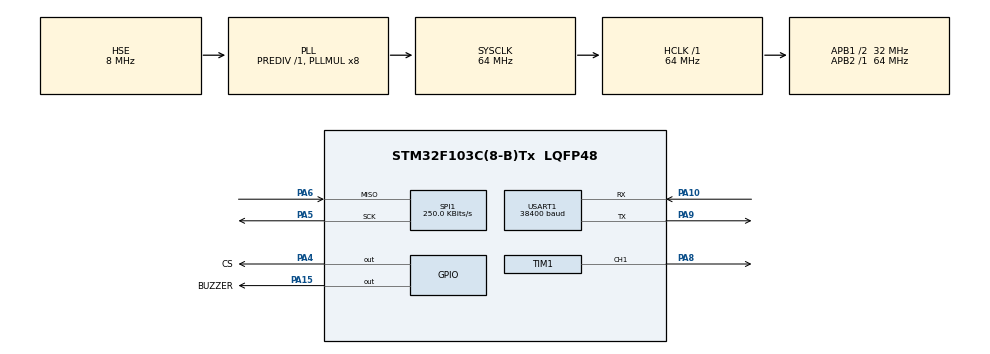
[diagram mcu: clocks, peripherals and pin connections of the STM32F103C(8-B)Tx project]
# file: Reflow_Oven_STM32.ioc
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Mcu.Family=STM32F1
RCC.PLLSourceVirtual=RCC_PLLSOURCE_HSE
PA6.Mode=RX_Only_Simplex_Unidirect_Master
TIM1.OCPolarity_1=TIM_OCPOLARITY_LOW
PD1-OSC_OUT.Mode=HSE-External-Oscillator
PA10.Mode=Asynchronous
SPI1.VirtualType=VM_MASTER
USART1.BaudRate=38400
SPI1.CLKPhase=SPI_PHASE_2EDGE
PD0-OSC_IN.Signal=RCC_OSC_IN
RCC.APB1CLKDivider=RCC_HCLK_DIV2
RCC.SYSCLKSource=RCC_SYSCLKSOURCE_PLLCLK
ProjectManager.StackSize=0x400
PD1-OSC_OUT.Signal=RCC_OSC_OUT
PA13.Signal=SYS_JTMS-SWDIO
PA15.GPIO_Label=BUZZER
PA9.Mode=Asynchronous
TIM1.Prescaler=32000
SH.S_TIM1_CH1.0=TIM1_CH1,PWM Generation1 CH1
ProjectManager.TargetToolchain=STM32CubeIDE
SPI1.Direction=SPI_DIRECTION_2LINES_RXONLY
RCC.HCLKFreq_Value=64000000
RCC.APB2TimFreq_Value=64000000
PA9.Signal=USART1_TX
SPI1.CalculateBaudRate=250.0 KBits/s
RCC.USBFreq_Value=64000000
TIM4.Prescaler=64000
RCC.AHBFreq_Value=64000000
PD0-OSC_IN.Mode=HSE-External-Oscillator
PA5.Signal=SPI1_SCK
board=custom
RCC.PLLMUL=RCC_PLL_MUL8
PA15.PinState=GPIO_PIN_RESET
RCC.APB2Freq_Value=64000000
TIM1.Channel-PWM\ Generation1\ CH1=TIM_CHANNEL_1
SPI1.Mode=SPI_MODE_MASTER
PA14.Mode=Serial_Wire
SPI1.DataSize=SPI_DATASIZE_16BIT
PA8.Signal=S_TIM1_CH1
TIM4.Period=500
PA13.Mode=Serial_Wire
Mcu.Name=STM32F103C(8-B)Tx
TIM1.OCMode_PWM-PWM\ Generation1\ CH1=TIM_OCMODE_PWM2
PA4.Signal=GPIO_Output
RCC.SYSCLKFreq_VALUE=64000000
Mcu.Package=LQFP48
PA6.Signal=SPI1_MISO
USART1.VirtualMode=VM_ASYNC
PA10.Signal=USART1_RX
PA14.Signal=SYS_JTCK-SWCLK
PA15.Signal=GPIO_Output
ProjectManager.HeapSize=0x200
VP_TIM4_VS_ClockSourceINT.Mode=Internal
NVIC.PriorityGroup=NVIC_PRIORITYGROUP_4
PA15.GPIO_PuPd=GPIO_PULLDOWN
RCC.APB1TimFreq_Value=64000000
TIM1.Period=1000
NVIC.USART1_IRQn=true\:0\:0\:false\:false\:true\:true\:true
NVIC.TIM4_IRQn=true\:1\:0\:true\:false\:true\:true\:true
RCC.APB1Freq_Value=32000000
SPI1.BaudRatePrescaler=SPI_BAUDRATEPRESCALER_256
PA4.GPIO_Label=CS
PA5.Mode=RX_Only_Simplex_Unidirect_Master

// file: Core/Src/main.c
/* USER CODE BEGIN Header */
/**
  ******************************************************************************
  * @file           : main.c
  * @brief          : Main program body
  ******************************************************************************
  * @attention
  *
  * <h2><center>&copy; Copyright (c) 2021 STMicroelectronics.
  * All rights reserved.</center></h2>
  *
  * This software component is licensed by ST under BSD 3-Clause license,
  * the "License"; You may not use this file except in compliance with the
  * License. You may obtain a copy of the License at:
  *                        opensource.org/licenses/BSD-3-Clause
  *
  ******************************************************************************
  */
/* USER CODE END Header */
#include "main.h"

/* USER CODE BEGIN Includes */
#define ARM_MATH_CM3
#include "arm_math.h"
#include "FLASH_PAGE.h"
#include "stdio.h"
#include <stdlib.h>
#include "string.h"
/* USER CODE END Includes */

SPI_HandleTypeDef hspi1;

TIM_HandleTypeDef htim1;
TIM_HandleTypeDef htim4;

UART_HandleTypeDef huart1;

void SystemClock_Config(void);
static void MX_GPIO_Init(void);
static void MX_SPI1_Init(void);
static void MX_TIM4_Init(void);
static void MX_TIM1_Init(void);
static void MX_USART1_UART_Init(void);

/* USER CODE BEGIN 0 */

#define config_version 130

typedef struct {

	float32_t KP;
	float32_t Ki;
	float32_t KD;

	float32_t firstHeatUpRate;
	uint32_t SoakTempeture;
	uint32_t SoakTime;
	float32_t secondHeatUpRate;
	uint32_t ReflowTempeture;
	uint32_t ReflowTime;

	float32_t firstHeatUpRate0;
	uint32_t SoakTempeture0;
	uint32_t SoakTime0;
	float32_t secondHeatUpRate0;
	uint32_t ReflowTempeture0;
	uint32_t ReflowTime0;

	float32_t firstHeatUpRate1;
	uint32_t SoakTempeture1;
	uint32_t SoakTime1;
	float32_t secondHeatUpRate1;
	uint32_t ReflowTempeture1;
	uint32_t ReflowTime1;

	float32_t firstHeatUpRate2;
	uint32_t SoakTempeture2;
	uint32_t SoakTime2;
	float32_t secondHeatUpRate2;
	uint32_t ReflowTempeture2;
	uint32_t ReflowTime2;

	float32_t firstHeatUpRate3;
	uint32_t SoakTempeture3;
	uint32_t SoakTime3;
	float32_t secondHeatUpRate3;
	uint32_t ReflowTempeture3;
	uint32_t ReflowTime3;

	uint32_t version;

}	config;

uint32_t TimerBUZZER;
uint32_t TimerGui;
uint8_t beep;
uint8_t data[2];
uint8_t ReflowCurve[4000];
float temp;
float lastTemp;
float duty;

arm_pid_instance_f32 PID;
config ReflowParameters;

uint8_t ReflowEnable = 0;
uint8_t BuzzerEnable = 0;
uint16_t ReflowIndex = 0;

float32_t debug = 0;
uint8_t Cmd_End[3] = {0xFF, 0xFF, 0xFF};
uint8_t UART_Recieved_Data[5]={'p','0','x','x','x'};
volatile uint8_t UART_Recieved_Flag = 0;

char input[20];
uint16_t PhaseIndex[5]={0};

char ConsoleMSG[25];

uint8_t TempDrawEnable = 0;
uint32_t TempDrawCounter = 0;

void SaveReflowParameters(){
	Flash_Write_Data(0x0801FC00, (uint32_t *)&ReflowParameters, 34);
}

void HAL_UART_RxCpltCallback(UART_HandleTypeDef *huart){
	HAL_UART_Receive_IT(&huart1, UART_Recieved_Data, 5);
	UART_Recieved_Flag =1;
}

void NEXTION_SendString (char *ID, char *string){
	char buf[50];
	int len = sprintf(buf, "%s.txt=\"%s\"", ID, string);
	HAL_UART_Transmit(&huart1, (uint8_t *)buf, len, 1000);
	HAL_UART_Transmit(&huart1, Cmd_End, 3, 100);

}

void NEXTION_SendFloat (char *ID, float32_t number){
	char buf[50];
	int len = sprintf(buf, "%s.txt=\"%.2f\"", ID, number);
	HAL_UART_Transmit(&huart1, (uint8_t *)buf, len, 1000);
	HAL_UART_Transmit(&huart1, Cmd_End, 3, 100);
}

void NEXTION_SendFloat_CurrentTemp (char *ID, float32_t number){
	char buf[50];
	int len = sprintf(buf, "%s.txt=\"%.1f\"", ID, number);
	HAL_UART_Transmit(&huart1, (uint8_t *)buf, len, 1000);
	HAL_UART_Transmit(&huart1, Cmd_End, 3, 100);
}

void NEXTION_SenduInt (char *ID, uint32_t number){
	char buf[50];
	int len = sprintf(buf, "%s.txt=\"%lu\"", ID, number);
	HAL_UART_Transmit(&huart1, (uint8_t *)buf, len, 1000);
	HAL_UART_Transmit(&huart1, Cmd_End, 3, 100);
}

void NEXTION_CMD (char *string){
	HAL_UART_Transmit(&huart1, (uint8_t *)string, strlen(string), 1000);
	HAL_UART_Transmit(&huart1, Cmd_End, 3, 100);
}

void UpdatePage(){
	NEXTION_SendFloat("t1",ReflowParameters.firstHeatUpRate);
	NEXTION_SenduInt("t2", ReflowParameters.SoakTempeture);
	NEXTION_SenduInt("t3", ReflowParameters.SoakTime);
	NEXTION_SendFloat("t4",ReflowParameters.secondHeatUpRate);
	NEXTION_SenduInt("t5", ReflowParameters.ReflowTempeture);
	NEXTION_SenduInt("t6", ReflowParameters.ReflowTime);
}

void NextionDrawDot(uint32_t x, uint32_t y){

	char buf[50];
	int len = sprintf(buf, "cirs %lu,%lu,2,1311", x, y);	//RGB888: 0.160.255 RGB565:1311
	HAL_UART_Transmit(&huart1, (uint8_t *)buf, len, 1000);
	HAL_UART_Transmit(&huart1, Cmd_End, 3, 100);
}

void NextionDrawTemp(uint32_t x, uint32_t y){

	char buf[50];
	int len = sprintf(buf, "cirs %lu,%lu,2,RED", x, y);
	HAL_UART_Transmit(&huart1, (uint8_t *)buf, len, 1000);
	HAL_UART_Transmit(&huart1, Cmd_End, 3, 100);
}

float32_t HandleKeyPad() {

	//clear Input
	for (int i = 0; i < 20; i++) {
		input[i] = 0;
	}

	uint8_t index = 0;

	NEXTION_SendString("t0", "");
	UART_Recieved_Flag = 0;

	while (strncmp((char*) UART_Recieved_Data, "enter", 5) != 0) {

		if(strncmp((char*) UART_Recieved_Data, "abbre", 5) == 0)
				return 9999;
		if(strncmp((char*) UART_Recieved_Data, "kback", 5) == 0)
				return 8888;

		if (UART_Recieved_Flag == 1) {
			input[index] = UART_Recieved_Data[4];
			UART_Recieved_Flag = 0;
			index++;
			NEXTION_SendString("t0", input);
		}
	}
	return atof(input);
}

void Update_Page_3() {
	uint8_t defaultUart[5] = {'p','3','x','x','x'};
	for(int i=0;i<5;i++){
		UART_Recieved_Data[i]=defaultUart[i];
	}

	NEXTION_SendFloat("t0", ReflowParameters.firstHeatUpRate);
	NEXTION_SenduInt("t1", ReflowParameters.SoakTime);
	NEXTION_SenduInt("t2", ReflowParameters.SoakTempeture);
	NEXTION_SendFloat("t3", ReflowParameters.secondHeatUpRate);
	NEXTION_SenduInt("t4", ReflowParameters.ReflowTime);
	NEXTION_SenduInt("t5", ReflowParameters.ReflowTempeture);

}

void Update_Page_0() {
	uint8_t defaultUart[5] = {'p','0','x','x','x'};
	for(int i=0;i<5;i++)	{
		UART_Recieved_Data[i]=defaultUart[i];
	}

	float32_t dx = 0.20833; //275px / 660s / 500 ms
	float32_t dy = 0.7143; //175px / 245 Grad
	uint32_t OffsetX = 35;
	uint32_t OffsetY = 240;

		//Reflow Aktuelle Temperatur anzeigen:
		if (ReflowEnable == 1)	{
			TempDrawEnable = 1;

		}

		if(TempDrawEnable == 1){
			NextionDrawTemp(OffsetX + (uint32_t)((float32_t)(TempDrawCounter)*dx), OffsetY - (uint32_t)((float32_t)(temp)*dy));

		if(ReflowCurve[TempDrawCounter] == 0 ){
			TempDrawEnable = 0;
		}

		}

	NEXTION_SendFloat_CurrentTemp("t0", temp);
	NEXTION_SendFloat("t1", ReflowParameters.firstHeatUpRate);
	NEXTION_SenduInt("t3", ReflowParameters.SoakTime);
	NEXTION_SenduInt("t2", ReflowParameters.SoakTempeture);
	NEXTION_SendFloat("t4", ReflowParameters.secondHeatUpRate);
	NEXTION_SenduInt("t6", ReflowParameters.ReflowTime);
	NEXTION_SenduInt("t5", ReflowParameters.ReflowTempeture);
	NEXTION_SendString("g1", ConsoleMSG);

}

void Update_Page_2() {
	uint8_t defaultUart[5] = {'p','2','x','x','x'};
	for(int i=0;i<5;i++){
		UART_Recieved_Data[i]=defaultUart[i];
	}

	NEXTION_SendFloat("t0", ReflowParameters.KP);
	NEXTION_SendFloat("t1", ReflowParameters.Ki);
	NEXTION_SendFloat("t2", ReflowParameters.KD);
	NEXTION_SendFloat("t3", (float32_t) ReflowParameters.version/100);
}

void HandleGui(){
	//###################Page0##########################

	if(strncmp((char *)UART_Recieved_Data, "p0xxx", 5) == 0){
			Update_Page_0();
			}

	if(strncmp((char *)UART_Recieved_Data, "p0b02", 5) == 0){
			Update_Page_3();
			}

	if(strncmp((char *)UART_Recieved_Data, "p0b00", 5) == 0){
			startReflow();
			Update_Page_0();
			}

	if(strncmp((char *)UART_Recieved_Data, "p0b01", 5) == 0){
			stopReflow();
			  // buzzer beeps at the FINISHED cycle until STOP button pressed
			  if (BuzzerEnable == 1)	{
				  BuzzerEnable = 0;
			  }
			Update_Page_0();
			}

	if(strncmp((char *)UART_Recieved_Data, "p0b02", 5) == 0){
			Update_Page_3();
			}

	//###################Page2##########################

	  if(strncmp((char *)UART_Recieved_Data, "p2xxx", 5) == 0){
		Update_Page_2();
		}

		  if(strncmp((char *)UART_Recieved_Data, "p2b00", 5) == 0){
			  float32_t Output =0;
			  Output = HandleKeyPad();
			  while(Output == 9999){
					uint8_t defaultUart[5] = {'x','x','x','x','x'};
					for(int i=0;i<5;i++){
						UART_Recieved_Data[i]=defaultUart[i];
					}
				  Output = HandleKeyPad();
			  }
			  if(Output == 8888){
				 Output = ReflowParameters.KP;
			  }

	    ReflowParameters.KP = Output;
	    PID.Kp = ReflowParameters.KP;
		arm_pid_init_f32(&PID, 1);
		Update_Page_2();
		NEXTION_CMD("page 2");

		}

		  if(strncmp((char *)UART_Recieved_Data, "p2b01", 5) == 0){
			  float32_t Output =0;
			  Output = HandleKeyPad();
			  while(Output == 9999){
					uint8_t defaultUart[5] = {'x','x','x','x','x'};
					for(int i=0;i<5;i++){
						UART_Recieved_Data[i]=defaultUart[i];
					}
				  Output = HandleKeyPad();
			  }
			  if(Output == 8888){
				 Output = ReflowParameters.Ki;
			  }
			  ReflowParameters.Ki = Output;
			  	    PID.Ki = ReflowParameters.Ki;
			arm_pid_init_f32(&PID, 1);
			Update_Page_2();
			NEXTION_CMD("page 2");

		}

		  if(strncmp((char *)UART_Recieved_Data, "p2b02", 5) == 0){
			  float32_t Output =0;
			  Output = HandleKeyPad();
			  while(Output == 9999){
					uint8_t defaultUart[5] = {'x','x','x','x','x'};
					for(int i=0;i<5;i++){
						UART_Recieved_Data[i]=defaultUart[i];
					}
				  Output = HandleKeyPad();
			  }
			  if(Output == 8888){
				 Output = ReflowParameters.KD;
			  }
			  ReflowParameters.KD = Output;
			 			  	    PID.Kd = ReflowParameters.KD;
			arm_pid_init_f32(&PID, 1);
			Update_Page_2();
			NEXTION_CMD("page 2");

		}

		  if(strncmp((char *)UART_Recieved_Data, "p2b03", 5) == 0){
			Update_Page_3();
			SaveReflowParameters();
		}

	//###################Page 3########################

	  if(strncmp((char *)UART_Recieved_Data, "p3xxx", 5) == 0){
		Update_Page_3();
		}

		  if(strncmp((char *)UART_Recieved_Data, "p3b00", 5) == 0){
			  float32_t Output =0;
			  Output = HandleKeyPad();
			  while(Output == 9999){
					uint8_t defaultUart[5] = {'x','x','x','x','x'};
					for(int i=0;i<5;i++){
						UART_Recieved_Data[i]=defaultUart[i];
					}
				  Output = HandleKeyPad();
			  }
			  if(Output == 8888){
				 Output = ReflowParameters.firstHeatUpRate;
			  }

			  if (Output < 0.2)
				  Output = 0.2;
			  if (Output > 1.5)
				  Output = 1.5;

		ReflowParameters.firstHeatUpRate = Output;
		Update_Page_3();
		NEXTION_CMD("page 3");
		calculateReflowCurve();

		}
		//NEXTION_SendFloat("t0", ReflowParameters.firstHeatUpRate);

		  if(strncmp((char *)UART_Recieved_Data, "p3b01", 5) == 0){
			  float32_t Output =0;
			  Output = HandleKeyPad();
			  while(Output == 9999){
					uint8_t defaultUart[5] = {'x','x','x','x','x'};
					for(int i=0;i<5;i++){
						UART_Recieved_Data[i]=defaultUart[i];
					}
				  Output = HandleKeyPad();
			  }
			  if(Output == 8888){
				 Output = ReflowParameters.SoakTime;
			  }

			  if (Output > 300)
				  Output = 300;

			ReflowParameters.SoakTime = Output;
			Update_Page_3();
			NEXTION_CMD("page 3");
			calculateReflowCurve();

		}
		//NEXTION_SendFloat("t0", ReflowParameters.firstHeatUpRate);

		  if(strncmp((char *)UART_Recieved_Data, "p3b02", 5) == 0){
			  float32_t Output =0;
			  Output = HandleKeyPad();
			  while(Output == 9999){
					uint8_t defaultUart[5] = {'x','x','x','x','x'};
					for(int i=0;i<5;i++){
						UART_Recieved_Data[i]=defaultUart[i];
					}
				  Output = HandleKeyPad();
			  }
			  if(Output == 8888){
				 Output = ReflowParameters.SoakTempeture;
			  }

			  if (Output < 30)
				  Output = 30;
			  if (Output > 240)
				  Output = 240;

			ReflowParameters.SoakTempeture = Output;
			Update_Page_3();
			NEXTION_CMD("page 3");
			calculateReflowCurve();

		}
		//NEXTION_SendFloat("t0", ReflowParameters.firstHeatUpRate);

		  if(strncmp((char *)UART_Recieved_Data, "p3b03", 5) == 0){
			  float32_t Output =0;
			  Output = HandleKeyPad();
			  while(Output == 9999){
					uint8_t defaultUart[5] = {'x','x','x','x','x'};
					for(int i=0;i<5;i++){
						UART_Recieved_Data[i]=defaultUart[i];
					}
				  Output = HandleKeyPad();
			  }
			  if(Output == 8888){
				 Output = ReflowParameters.secondHeatUpRate;
			  }

			  if (Output < 0.2)
				  Output = 0.2;
			  if (Output > 1.5)
				  Output = 1.5;

			ReflowParameters.secondHeatUpRate = Output;
			Update_Page_3();
			NEXTION_CMD("page 3");
			calculateReflowCurve();

		}

		//NEXTION_SendFloat("t0", ReflowParameters.firstHeatUpRate);

		  if(strncmp((char *)UART_Recieved_Data, "p3b04", 5) == 0){
			  float32_t Output =0;
			  Output = HandleKeyPad();
			  while(Output == 9999){
					uint8_t defaultUart[5] = {'x','x','x','x','x'};
					for(int i=0;i<5;i++){
						UART_Recieved_Data[i]=defaultUart[i];
					}
				  Output = HandleKeyPad();
			  }
			  if(Output == 8888){
				 Output = ReflowParameters.ReflowTime;
			  }

			  if (Output > 300)
				  Output = 300;

			ReflowParameters.ReflowTime = Output;
			Update_Page_3();
			NEXTION_CMD("page 3");
			calculateReflowCurve();

		}
		//NEXTION_SendFloat("t0", ReflowParameters.firstHeatUpRate);

		  if(strncmp((char *)UART_Recieved_Data, "p3b05", 5) == 0){
			  float32_t Output =0;
			  Output = HandleKeyPad();
			  while(Output == 9999){
					uint8_t defaultUart[5] = {'x','x','x','x','x'};
					for(int i=0;i<5;i++){
						UART_Recieved_Data[i]=defaultUart[i];
					}
				  Output = HandleKeyPad();
			  }
			  if(Output == 8888){
				 Output = ReflowParameters.ReflowTempeture;
			  }
			  if (Output < 30)
				  Output = 30;
			  if (Output > 240)
				  Output = 240;
			ReflowParameters.ReflowTempeture = Output;
			Update_Page_3();
			NEXTION_CMD("page 3");
			calculateReflowCurve();

		}

		  if(strncmp((char *)UART_Recieved_Data, "p3b06", 5) == 0){
			Update_Page_2();
		}

		  if(strncmp((char *)UART_Recieved_Data, "p3b07", 5) == 0){
			Update_Page_0();
			Draw_Reflow_Curve();
			SaveReflowParameters();

		}

		  	// Save current parameters to Lead 138C profile
		  if(strncmp((char *)UART_Recieved_Data, "p3bs0", 5) == 0){

			  ReflowParameters.firstHeatUpRate0 = ReflowParameters.firstHeatUpRate;
			  ReflowParameters.SoakTime0 = ReflowParameters.SoakTime;
			  ReflowParameters.SoakTempeture0 = ReflowParameters.SoakTempeture;
			  ReflowParameters.secondHeatUpRate0 = ReflowParameters.secondHeatUpRate;
			  ReflowParameters.ReflowTime0 = ReflowParameters.ReflowTime;
			  ReflowParameters.ReflowTempeture0 = ReflowParameters.ReflowTempeture;
			  Update_Page_3();
			  // needed page refresh because of strange nextion timers behavior
			  NEXTION_CMD("page 3");
			  calculateReflowCurve();

		  }

			 // Load Lead 138C profile
		  if(strncmp((char *)UART_Recieved_Data, "p3b08", 5) == 0){

			  ReflowParameters.firstHeatUpRate = ReflowParameters.firstHeatUpRate0;
			  ReflowParameters.SoakTime = ReflowParameters.SoakTime0;
			  ReflowParameters.SoakTempeture = ReflowParameters.SoakTempeture0;
			  ReflowParameters.secondHeatUpRate = ReflowParameters.secondHeatUpRate0;
			  ReflowParameters.ReflowTime = ReflowParameters.ReflowTime0;
			  ReflowParameters.ReflowTempeture = ReflowParameters.ReflowTempeture0;
			  Update_Page_3();
			  //NEXTION_CMD("page 3");
			  calculateReflowCurve();
		  }

		  	// Save current parameters to Lead 148C profile
		  if(strncmp((char *)UART_Recieved_Data, "p3bs1", 5) == 0){
			  ReflowParameters.firstHeatUpRate1 = ReflowParameters.firstHeatUpRate;
			  ReflowParameters.SoakTime1 = ReflowParameters.SoakTime;
			  ReflowParameters.SoakTempeture1 = ReflowParameters.SoakTempeture;
			  ReflowParameters.secondHeatUpRate1 = ReflowParameters.secondHeatUpRate;
			  ReflowParameters.ReflowTime1 = ReflowParameters.ReflowTime;
			  ReflowParameters.ReflowTempeture1 = ReflowParameters.ReflowTempeture;
			  Update_Page_3();
			  // needed page refresh because of strange nextion timers behavior
			  NEXTION_CMD("page 3");
			  calculateReflowCurve();
		  }

			 // Load Lead 148C profile
		  if(strncmp((char *)UART_Recieved_Data, "p3b09", 5) == 0){

			  ReflowParameters.firstHeatUpRate = ReflowParameters.firstHeatUpRate1;
			  ReflowParameters.SoakTime = ReflowParameters.SoakTime1;
			  ReflowParameters.SoakTempeture = ReflowParameters.SoakTempeture1;
			  ReflowParameters.secondHeatUpRate = ReflowParameters.secondHeatUpRate1;
			  ReflowParameters.ReflowTime = ReflowParameters.ReflowTime1;
			  ReflowParameters.ReflowTempeture = ReflowParameters.ReflowTempeture1;
			  Update_Page_3();
			  //NEXTION_CMD("page 3");
			  calculateReflowCurve();
		  }

		  	// Save current parameters to Lead 183C profile
		  if(strncmp((char *)UART_Recieved_Data, "p3bs2", 5) == 0){
			  ReflowParameters.firstHeatUpRate2 = ReflowParameters.firstHeatUpRate;
			  ReflowParameters.SoakTime2 = ReflowParameters.SoakTime;
			  ReflowParameters.SoakTempeture2 = ReflowParameters.SoakTempeture;
			  ReflowParameters.secondHeatUpRate2 = ReflowParameters.secondHeatUpRate;
			  ReflowParameters.ReflowTime2 = ReflowParameters.ReflowTime;
			  ReflowParameters.ReflowTempeture2 = ReflowParameters.ReflowTempeture;
			  Update_Page_3();
			  // needed page refresh because of strange nextion timers behavior
			  NEXTION_CMD("page 3");
			  calculateReflowCurve();
		  }

			 // Load Lead 183C profile
		  if(strncmp((char *)UART_Recieved_Data, "p3b10", 5) == 0){

			  ReflowParameters.firstHeatUpRate = ReflowParameters.firstHeatUpRate2;
			  ReflowParameters.SoakTime = ReflowParameters.SoakTime2;
			  ReflowParameters.SoakTempeture = ReflowParameters.SoakTempeture2;
			  ReflowParameters.secondHeatUpRate = ReflowParameters.secondHeatUpRate2;
			  ReflowParameters.ReflowTime = ReflowParameters.ReflowTime2;
			  ReflowParameters.ReflowTempeture = ReflowParameters.ReflowTempeture2;
			  Update_Page_3();
			  //NEXTION_CMD("page 3");
			  calculateReflowCurve();
		  }

		  	// Save current parameters to Lead 217C profile
		  if(strncmp((char *)UART_Recieved_Data, "p3bs3", 5) == 0){
			  ReflowParameters.firstHeatUpRate3 = ReflowParameters.firstHeatUpRate;
			  ReflowParameters.SoakTime3 = ReflowParameters.SoakTime;
			  ReflowParameters.SoakTempeture3 = ReflowParameters.SoakTempeture;
			  ReflowParameters.secondHeatUpRate3 = ReflowParameters.secondHeatUpRate;
			  ReflowParameters.ReflowTime3 = ReflowParameters.ReflowTime;
			  ReflowParameters.ReflowTempeture3 = ReflowParameters.ReflowTempeture;
			  Update_Page_3();
			  // needed page refresh because of strange nextion timers behavior
			  NEXTION_CMD("page 3");
			  calculateReflowCurve();
		  }

		  	// Load Lead 217C profile
		  if(strncmp((char *)UART_Recieved_Data, "p3b11", 5) == 0){

			  ReflowParameters.firstHeatUpRate = ReflowParameters.firstHeatUpRate3;
			  ReflowParameters.SoakTime = ReflowParameters.SoakTime3;
			  ReflowParameters.SoakTempeture = ReflowParameters.SoakTempeture3;
			  ReflowParameters.secondHeatUpRate = ReflowParameters.secondHeatUpRate3;
			  ReflowParameters.ReflowTime = ReflowParameters.ReflowTime3;
			  ReflowParameters.ReflowTempeture = ReflowParameters.ReflowTempeture3;
			  Update_Page_3();
			  //NEXTION_CMD("page 3");
			  calculateReflowCurve();
		  }

		  // restore factory default profiles	(not all tested)
		  if(strncmp((char *)UART_Recieved_Data, "p3br7", 5) == 0){

			  	// Lead 217C https://www.chipquik.com/datasheets/TS391SNL50.pdf
				ReflowParameters.firstHeatUpRate3 = 0.75;
				ReflowParameters.SoakTime3 = 100;
				ReflowParameters.SoakTempeture3 = 175;
				ReflowParameters.secondHeatUpRate3 = 1;
				ReflowParameters.ReflowTime3 = 90;
				ReflowParameters.ReflowTempeture3 = 240;
				// Lead 183C https://www.chipquik.com/datasheets/TS391AX50.pdf
				ReflowParameters.firstHeatUpRate2 = 0.75;
				ReflowParameters.SoakTime2 = 100;
				ReflowParameters.SoakTempeture2 = 150;
				ReflowParameters.secondHeatUpRate2 = 1;
				ReflowParameters.ReflowTime2 = 100;
				ReflowParameters.ReflowTempeture2 = 230;
				// Lead 148C
				ReflowParameters.firstHeatUpRate1 = 0.75;
				ReflowParameters.SoakTime1 = 100;
				ReflowParameters.SoakTempeture1 = 140;
				ReflowParameters.secondHeatUpRate1 = 1;
				ReflowParameters.ReflowTime1 = 100;
				ReflowParameters.ReflowTempeture1 = 175;
				// Lead 138C http://www.chipquik.com/datasheets/TS391LT50.pdf
				ReflowParameters.firstHeatUpRate0 = 0.75;
				ReflowParameters.SoakTime0 = 100;
				ReflowParameters.SoakTempeture0 = 130;
				ReflowParameters.secondHeatUpRate0 = 1;
				ReflowParameters.ReflowTime0 = 100;
				ReflowParameters.ReflowTempeture0 = 165;
				// Lead default (138C)
				ReflowParameters.firstHeatUpRate = 0.75;
				ReflowParameters.SoakTime = 100;
				ReflowParameters.SoakTempeture = 130;
				ReflowParameters.secondHeatUpRate = 1;
				ReflowParameters.ReflowTime = 100;
				ReflowParameters.ReflowTempeture = 165;

				calculateReflowCurve();
				Update_Page_0();
		  }

}

void HAL_TIM_PeriodElapsedCallback(TIM_HandleTypeDef *htim) {

	TempDrawCounter++;

	if (htim == &htim4) {
		//Thermocouple alle 500ms auslesen:
		HAL_GPIO_WritePin(CS_GPIO_Port, CS_Pin, 0);
		HAL_SPI_Receive(&hspi1, data, 2, 100);
		HAL_GPIO_WritePin(CS_GPIO_Port, CS_Pin, 1);

		temp = ((((uint16_t) data[1] << 8) | data[0]) >> 3) * 0.249;
		// basic filter to reduce random and noisy temperature readings
		if ((fabs(temp - lastTemp) > 25) && (HAL_GetTick() > 3000))	{
			temp = lastTemp;
		}
		else {
			lastTemp=temp;
		}

		//Reflow Prozess Einleiten:
		if (ReflowEnable == 1) {
			//NextionDrawTemp(OffsetX + (uint32_t)((float32_t)(ReflowIndex)*dx), OffsetY - (uint32_t)((float32_t)(temp)*dy));

			if(ReflowIndex == PhaseIndex[0])
				sprintf(ConsoleMSG,"PREHEAT");
			if(ReflowIndex == PhaseIndex[1])
				sprintf(ConsoleMSG,"SOAK");
			if(ReflowIndex == PhaseIndex[2])
				sprintf(ConsoleMSG,"HEAT UP");
			if(ReflowIndex == PhaseIndex[3])
				sprintf(ConsoleMSG,"REFLOW");

			//Regelabweichung
			float pid_error =  ReflowCurve[ReflowIndex] - temp;
			//Stellgroesse
			duty =  arm_pid_f32(&PID, pid_error);

			//Stellgrößenbegrenzung und Anti-Wind-UP (update 27.03.2021)
			if (duty > 1000) {
				duty = 1000;
				PID.Ki = 0;
			} else if (duty < 0) {
				duty = 0;
			}
			else{
				PID.Ki = ReflowParameters.Ki;
			}

			//Dutycycle Anpassen
			htim1.Instance->CCR1 = (uint16_t)duty;

			ReflowIndex++;
			//Abbruchbedingung
			if (ReflowIndex == PhaseIndex[4]) {
				sprintf(ConsoleMSG,"FINISHED, OPEN DOOR");
					BuzzerEnable = 1;
					ReflowEnable = 0;
			}

		} else {
			ReflowIndex = 0;
			//Dutycycle = 0
			htim1.Instance->CCR1 = 0;
		}

	}

}

void calculateReflowCurve(){
	for(int i =0;i<4000;i++){
		ReflowCurve[i]=0;
	}

	int index = 0;
	float timestep = 0.5;
	//First Heat Up:
	while (24 + timestep * ReflowParameters.firstHeatUpRate <= ReflowParameters.SoakTempeture) {
	ReflowCurve[index] = 24 + timestep * ReflowParameters.firstHeatUpRate;
	index++;
	timestep = timestep + 0.5;
	}
	PhaseIndex[1]=index;

	//Soak
	int Soakduration = 2*ReflowParameters.SoakTime;

	for(int i=0;i<Soakduration;i++){
		ReflowCurve[index+i]=ReflowParameters.SoakTempeture;
	}

	//Second Heat Up:
	index = index + Soakduration;
	PhaseIndex[2]=index;
	timestep = 0.5;
	while (ReflowParameters.SoakTempeture + timestep * ReflowParameters.secondHeatUpRate <= ReflowParameters.ReflowTempeture) {
	ReflowCurve[index] = ReflowParameters.SoakTempeture + (uint8_t)timestep * ReflowParameters.secondHeatUpRate;
	index++;
	timestep = timestep + 0.5;
	}
	PhaseIndex[3]=index;

	//Reflow
	int Reflowduration = 2*ReflowParameters.ReflowTime;

	for(int i=0;i<Reflowduration;i++){
		ReflowCurve[index+i]=ReflowParameters.ReflowTempeture;
	}

	index = index + Reflowduration;
	ReflowCurve[index]=0;
	PhaseIndex[4]=index;

	//Cooldown
	timestep = 0.5;
	while (ReflowParameters.ReflowTempeture - timestep * 1.8 >= 24) {
	ReflowCurve[index] = ReflowParameters.ReflowTempeture - timestep * 1.8;
	index++;
	timestep = timestep + 0.5;

	}
}

void Draw_Reflow_Curve()	{
	float32_t dx = 0.20833; //275px / 660s / 500 ms
	float32_t dy = 0.7143; //175px / 245 Grad
	uint32_t OffsetX = 35;
	uint32_t OffsetY = 240;
	uint32_t index = 0;

	while(ReflowCurve[index] != 0){

		NextionDrawDot(OffsetX + (uint32_t)((float32_t)(index)*dx), OffsetY - (uint32_t)((float32_t)(ReflowCurve[index])*dy));
		index= index + 4;

		if(strncmp((char *)UART_Recieved_Data, "p0b02", 5) == 0)
			break;
	}
}

void startReflow()	{
	ReflowEnable = 1;
	NEXTION_CMD("page 0");
	Draw_Reflow_Curve();
	TempDrawCounter = 0;
	Update_Page_0();
}

void stopReflow()	{

	if ( ReflowEnable == 1 )	{
		ReflowEnable = 0;
		TempDrawEnable = 0;
		sprintf(ConsoleMSG,"STOPPED");
		Update_Page_0();
	}
}

void beepBeep()	{

	  if (BuzzerEnable == 1)	{

		  if (HAL_GPIO_ReadPin(BUZZER_GPIO_Port, BUZZER_Pin) && ((HAL_GetTick() - TimerBUZZER) > 100))	{
			  TimerBUZZER = HAL_GetTick();
			  HAL_GPIO_WritePin(BUZZER_GPIO_Port, BUZZER_Pin, 0);
		  	}

		  else if (!(HAL_GPIO_ReadPin(BUZZER_GPIO_Port, BUZZER_Pin)) && ((HAL_GetTick() - TimerBUZZER) > 100) && (beep<2))	{
			  TimerBUZZER = HAL_GetTick();
			  HAL_GPIO_WritePin(BUZZER_GPIO_Port, BUZZER_Pin, 1);
			  beep++;
		  	}
		  else	{
			  if ((HAL_GetTick() - TimerBUZZER) > 3000)	{
			 		beep=0;
			 	}
		  }
	  }

}

/* USER CODE END 0 */

int main(void)
{
  /* USER CODE BEGIN 1 */

	Flash_Read_Data(0x0801FC00, (uint32_t *)&ReflowParameters);

	if (!(ReflowParameters.version == config_version))	{
		ReflowParameters.firstHeatUpRate3 = 0.75;
		ReflowParameters.SoakTime3 = 100;
		ReflowParameters.SoakTempeture3 = 175;
		ReflowParameters.secondHeatUpRate3 = 1;
		ReflowParameters.ReflowTime3 = 90;
		ReflowParameters.ReflowTempeture3 = 240;
		// Lead 183C https://www.chipquik.com/datasheets/TS391AX50.pdf
		ReflowParameters.firstHeatUpRate2 = 0.75;
		ReflowParameters.SoakTime2 = 100;
		ReflowParameters.SoakTempeture2 = 150;
		ReflowParameters.secondHeatUpRate2 = 1;
		ReflowParameters.ReflowTime2 = 100;
		ReflowParameters.ReflowTempeture2 = 230;
		// Lead 148C
		ReflowParameters.firstHeatUpRate1 = 0.75;
		ReflowParameters.SoakTime1 = 100;
		ReflowParameters.SoakTempeture1 = 140;
		ReflowParameters.secondHeatUpRate1 = 1;
		ReflowParameters.ReflowTime1 = 100;
		ReflowParameters.ReflowTempeture1 = 175;
		// Lead 138C http://www.chipquik.com/datasheets/TS391LT50.pdf
		ReflowParameters.firstHeatUpRate0 = 0.75;
		ReflowParameters.SoakTime0 = 100;
		ReflowParameters.SoakTempeture0 = 130;
		ReflowParameters.secondHeatUpRate0 = 1;
		ReflowParameters.ReflowTime0 = 100;
		ReflowParameters.ReflowTempeture0 = 165;
		// Lead default (138C)
		ReflowParameters.firstHeatUpRate = 0.75;
		ReflowParameters.SoakTime = 100;
		ReflowParameters.SoakTempeture = 130;
		ReflowParameters.secondHeatUpRate = 1;
		ReflowParameters.ReflowTime = 100;
		ReflowParameters.ReflowTempeture = 165;

		ReflowParameters.KP = 85;
		ReflowParameters.Ki = 0.05;
		ReflowParameters.KD = 130;

		ReflowParameters.version = config_version;
		SaveReflowParameters();
	}

	calculateReflowCurve();

	PID.Kp = ReflowParameters.KP;
	PID.Ki = ReflowParameters.Ki;
	PID.Kd = ReflowParameters.KD;

	arm_pid_init_f32(&PID, 1);
	beep=0;
  /* USER CODE END 1 */

  /* MCU Configuration--------------------------------------------------------*/

  /* Reset of all peripherals, Initializes the Flash interface and the Systick. */
  HAL_Init();

  /* Configure the system clock */
  SystemClock_Config();

  /* Initialize all configured peripherals */
  MX_GPIO_Init();
  MX_SPI1_Init();
  MX_TIM4_Init();
  MX_TIM1_Init();
  MX_USART1_UART_Init();
  /* USER CODE BEGIN 2 */
  TimerBUZZER = HAL_GetTick();
  TimerGui = HAL_GetTick();

  HAL_TIM_Base_Start_IT(&htim4);
  HAL_TIM_PWM_Start(&htim1, TIM_CHANNEL_1);

  htim1.Instance->CCR1 = 10;

  //startReflow();
  HAL_Delay(2000);
  HAL_UART_Receive_IT(&huart1, UART_Recieved_Data, 5);
  sprintf(ConsoleMSG,"IDLE");
  Update_Page_0();
  Draw_Reflow_Curve();
  HAL_UART_Receive_IT(&huart1, UART_Recieved_Data, 5);

  /* USER CODE END 2 */

  /* Infinite loop */
  while (1)
  {

    /* USER CODE BEGIN 3 */

	  if (HAL_GetTick() - TimerGui > 505)	{
		  TimerGui = HAL_GetTick();
		  HandleGui();
	  	}
		if ((ReflowEnable == 1) && (ReflowIndex == PhaseIndex[4])) {
			BuzzerEnable = 1;
		}

	  beepBeep();

  }
}
  /* USER CODE END 3 */

void SystemClock_Config(void)
{
  RCC_OscInitTypeDef RCC_OscInitStruct = {0};
  RCC_ClkInitTypeDef RCC_ClkInitStruct = {0};

  /** Initializes the RCC Oscillators according to the specified parameters
  * in the RCC_OscInitTypeDef structure.
  */
  RCC_OscInitStruct.OscillatorType = RCC_OSCILLATORTYPE_HSE;
  RCC_OscInitStruct.HSEState = RCC_HSE_ON;
  RCC_OscInitStruct.HSEPredivValue = RCC_HSE_PREDIV_DIV1;
  RCC_OscInitStruct.HSIState = RCC_HSI_ON;
  RCC_OscInitStruct.PLL.PLLState = RCC_PLL_ON;
  RCC_OscInitStruct.PLL.PLLSource = RCC_PLLSOURCE_HSE;
  RCC_OscInitStruct.PLL.PLLMUL = RCC_PLL_MUL8;
  if (HAL_RCC_OscConfig(&RCC_OscInitStruct) != HAL_OK)
  {
    Error_Handler();
  }
  /** Initializes the CPU, AHB and APB buses clocks
  */
  RCC_ClkInitStruct.ClockType = RCC_CLOCKTYPE_HCLK|RCC_CLOCKTYPE_SYSCLK
                              |RCC_CLOCKTYPE_PCLK1|RCC_CLOCKTYPE_PCLK2;
  RCC_ClkInitStruct.SYSCLKSource = RCC_SYSCLKSOURCE_PLLCLK;
  RCC_ClkInitStruct.AHBCLKDivider = RCC_SYSCLK_DIV1;
  RCC_ClkInitStruct.APB1CLKDivider = RCC_HCLK_DIV2;
  RCC_ClkInitStruct.APB2CLKDivider = RCC_HCLK_DIV1;

  if (HAL_RCC_ClockConfig(&RCC_ClkInitStruct, FLASH_LATENCY_2) != HAL_OK)
  {
    Error_Handler();
  }
}

static void MX_SPI1_Init(void)
{

  /* SPI1 parameter configuration*/
  hspi1.Instance = SPI1;
  hspi1.Init.Mode = SPI_MODE_MASTER;
  hspi1.Init.Direction = SPI_DIRECTION_2LINES_RXONLY;
  hspi1.Init.DataSize = SPI_DATASIZE_16BIT;
  hspi1.Init.CLKPolarity = SPI_POLARITY_LOW;
  hspi1.Init.CLKPhase = SPI_PHASE_2EDGE;
  hspi1.Init.NSS = SPI_NSS_SOFT;
  hspi1.Init.BaudRatePrescaler = SPI_BAUDRATEPRESCALER_256;
  hspi1.Init.FirstBit = SPI_FIRSTBIT_MSB;
  hspi1.Init.TIMode = SPI_TIMODE_DISABLE;
  hspi1.Init.CRCCalculation = SPI_CRCCALCULATION_DISABLE;
  hspi1.Init.CRCPolynomial = 10;
  if (HAL_SPI_Init(&hspi1) != HAL_OK)
  {
    Error_Handler();
  }

}

static void MX_TIM1_Init(void)
{

  TIM_MasterConfigTypeDef sMasterConfig = {0};
  TIM_OC_InitTypeDef sConfigOC = {0};
  TIM_BreakDeadTimeConfigTypeDef sBreakDeadTimeConfig = {0};

  htim1.Instance = TIM1;
  htim1.Init.Prescaler = 32000;
  htim1.Init.CounterMode = TIM_COUNTERMODE_UP;
  htim1.Init.Period = 1000;
  htim1.Init.ClockDivision = TIM_CLOCKDIVISION_DIV1;
  htim1.Init.RepetitionCounter = 0;
  htim1.Init.AutoReloadPreload = TIM_AUTORELOAD_PRELOAD_DISABLE;
  if (HAL_TIM_PWM_Init(&htim1) != HAL_OK)
  {
    Error_Handler();
  }
  sMasterConfig.MasterOutputTrigger = TIM_TRGO_RESET;
  sMasterConfig.MasterSlaveMode = TIM_MASTERSLAVEMODE_DISABLE;
  if (HAL_TIMEx_MasterConfigSynchronization(&htim1, &sMasterConfig) != HAL_OK)
  {
    Error_Handler();
  }
  sConfigOC.OCMode = TIM_OCMODE_PWM2;
  sConfigOC.Pulse = 0;
  sConfigOC.OCPolarity = TIM_OCPOLARITY_LOW;
  sConfigOC.OCNPolarity = TIM_OCNPOLARITY_HIGH;
  sConfigOC.OCFastMode = TIM_OCFAST_DISABLE;
  sConfigOC.OCIdleState = TIM_OCIDLESTATE_RESET;
  sConfigOC.OCNIdleState = TIM_OCNIDLESTATE_RESET;
  if (HAL_TIM_PWM_ConfigChannel(&htim1, &sConfigOC, TIM_CHANNEL_1) != HAL_OK)
  {
    Error_Handler();
  }
  sBreakDeadTimeConfig.OffStateRunMode = TIM_OSSR_DISABLE;
  sBreakDeadTimeConfig.OffStateIDLEMode = TIM_OSSI_DISABLE;
  sBreakDeadTimeConfig.LockLevel = TIM_LOCKLEVEL_OFF;
  sBreakDeadTimeConfig.DeadTime = 0;
  sBreakDeadTimeConfig.BreakState = TIM_BREAK_DISABLE;
  sBreakDeadTimeConfig.BreakPolarity = TIM_BREAKPOLARITY_HIGH;
  sBreakDeadTimeConfig.AutomaticOutput = TIM_AUTOMATICOUTPUT_DISABLE;
  if (HAL_TIMEx_ConfigBreakDeadTime(&htim1, &sBreakDeadTimeConfig) != HAL_OK)
  {
    Error_Handler();
  }
  HAL_TIM_MspPostInit(&htim1);

}

static void MX_TIM4_Init(void)
{

  TIM_ClockConfigTypeDef sClockSourceConfig = {0};
  TIM_MasterConfigTypeDef sMasterConfig = {0};

  htim4.Instance = TIM4;
  htim4.Init.Prescaler = 64000;
  htim4.Init.CounterMode = TIM_COUNTERMODE_UP;
  htim4.Init.Period = 500;
  htim4.Init.ClockDivision = TIM_CLOCKDIVISION_DIV1;
  htim4.Init.AutoReloadPreload = TIM_AUTORELOAD_PRELOAD_DISABLE;
  if (HAL_TIM_Base_Init(&htim4) != HAL_OK)
  {
    Error_Handler();
  }
  sClockSourceConfig.ClockSource = TIM_CLOCKSOURCE_INTERNAL;
  if (HAL_TIM_ConfigClockSource(&htim4, &sClockSourceConfig) != HAL_OK)
  {
    Error_Handler();
  }
  sMasterConfig.MasterOutputTrigger = TIM_TRGO_RESET;
  sMasterConfig.MasterSlaveMode = TIM_MASTERSLAVEMODE_DISABLE;
  if (HAL_TIMEx_MasterConfigSynchronization(&htim4, &sMasterConfig) != HAL_OK)
  {
    Error_Handler();
  }

}

static void MX_USART1_UART_Init(void)
{

  huart1.Instance = USART1;
  huart1.Init.BaudRate = 38400;
  huart1.Init.WordLength = UART_WORDLENGTH_8B;
  huart1.Init.StopBits = UART_STOPBITS_1;
  huart1.Init.Parity = UART_PARITY_NONE;
  huart1.Init.Mode = UART_MODE_TX_RX;
  huart1.Init.HwFlowCtl = UART_HWCONTROL_NONE;
  huart1.Init.OverSampling = UART_OVERSAMPLING_16;
  if (HAL_UART_Init(&huart1) != HAL_OK)
  {
    Error_Handler();
  }

}

static void MX_GPIO_Init(void)
{
  GPIO_InitTypeDef GPIO_InitStruct = {0};

  /* GPIO Ports Clock Enable */
  __HAL_RCC_GPIOD_CLK_ENABLE();
  __HAL_RCC_GPIOA_CLK_ENABLE();

  /*Configure GPIO pin Output Level */
  HAL_GPIO_WritePin(GPIOA, CS_Pin|BUZZER_Pin, GPIO_PIN_RESET);

  /*Configure GPIO pin : CS_Pin */
  GPIO_InitStruct.Pin = CS_Pin;
  GPIO_InitStruct.Mode = GPIO_MODE_OUTPUT_PP;
  GPIO_InitStruct.Pull = GPIO_NOPULL;
  GPIO_InitStruct.Speed = GPIO_SPEED_FREQ_LOW;
  HAL_GPIO_Init(CS_GPIO_Port, &GPIO_InitStruct);

  /*Configure GPIO pin : BUZZER_Pin */
  GPIO_InitStruct.Pin = BUZZER_Pin;
  GPIO_InitStruct.Mode = GPIO_MODE_OUTPUT_PP;
  GPIO_InitStruct.Pull = GPIO_PULLDOWN;
  GPIO_InitStruct.Speed = GPIO_SPEED_FREQ_LOW;
  HAL_GPIO_Init(BUZZER_GPIO_Port, &GPIO_InitStruct);

}

void Error_Handler(void)
{
  __disable_irq();
  while (1)
  {
  }
}

/************************ (C) COPYRIGHT STMicroelectronics *****END OF FILE****/
